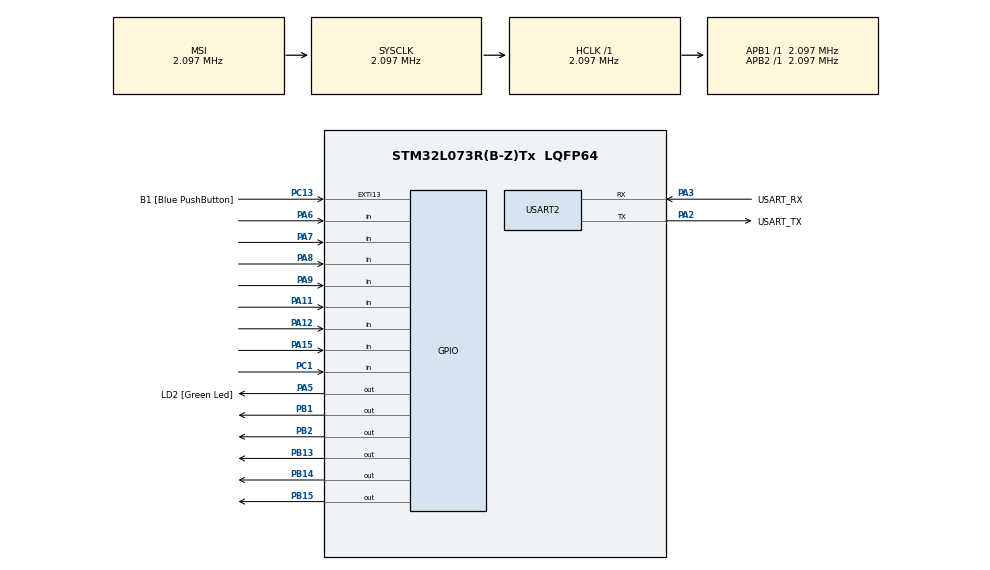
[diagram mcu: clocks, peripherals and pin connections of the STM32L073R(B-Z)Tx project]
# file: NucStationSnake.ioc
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Mcu.Family=STM32L0
Mcu.Name=STM32L073R(B-Z)Tx
Mcu.Package=LQFP64
PA11.Signal=GPIO_Input
PA12.GPIO_PuPd=GPIO_PULLDOWN
PA12.Signal=GPIO_Input
PA13.GPIO_Label=TMS
PA13.Mode=Serial_Wire
PA13.Signal=SYS_SWDIO
PA14.GPIO_Label=TCK
PA14.Mode=Serial_Wire
PA14.Signal=SYS_SWCLK
PA15.Signal=GPIO_Input
PA2.GPIO_Label=USART_TX
PA2.Mode=Asynchronous
PA2.Signal=USART2_TX
PA3.GPIO_Label=USART_RX
PA3.Mode=Asynchronous
PA3.Signal=USART2_RX
PA5.GPIO_Label=LD2 [Green Led]
PA5.Signal=GPIO_Output
PA6.GPIO_PuPd=GPIO_PULLUP
PA6.Signal=GPIO_Input
PA7.GPIO_PuPd=GPIO_PULLUP
PA7.Signal=GPIO_Input
PA8.Signal=GPIO_Input
PA9.Signal=GPIO_Input
PB1.Signal=GPIO_Output
PB13.Signal=GPIO_Output
PB14.Signal=GPIO_Output
PB15.Signal=GPIO_Output
PB2.Signal=GPIO_Output
PC1.GPIO_PuPd=GPIO_PULLUP
PC1.Signal=GPIO_Input
PC13.GPIO_Label=B1 [Blue PushButton]
PC13.GPIO_ModeDefaultEXTI=GPIO_MODE_IT_FALLING
PC13.Signal=GPXTI13
PC14-OSC32_IN.Mode=LSE-External-Oscillator
PC14-OSC32_IN.Signal=RCC_OSC32_IN
PC15-OSC32_OUT.Mode=LSE-External-Oscillator
PC15-OSC32_OUT.Signal=RCC_OSC32_OUT
PH0-OSC_IN.GPIO_Label=MCO
PH0-OSC_IN.Mode=HSE-External-Clock-Source
PH0-OSC_IN.Signal=RCC_OSC_IN
ProjectManager.HeapSize=0x200
ProjectManager.StackSize=0x400
ProjectManager.TargetToolchain=STM32CubeIDE
RCC.AHBFreq_Value=2097000
RCC.APB1Freq_Value=2097000
RCC.APB1TimFreq_Value=2097000
RCC.APB2Freq_Value=2097000
RCC.APB2TimFreq_Value=2097000
RCC.HSE_VALUE=8000000
RCC.HSI16_VALUE=16000000
RCC.HSI48_VALUE=48000000
RCC.HSI_VALUE=16000000
RCC.MSI_VALUE=2097000
RCC.SYSCLKFreq_VALUE=2097000
RCC.VCOOutputFreq_Value=48000000
TIM6.Period=65536 - 1
TIM6.Prescaler=80 - 1
USART2.VirtualMode-Asynchronous=VM_ASYNC
VP_TIM6_VS_ClockSourceINT.Mode=Enable_Timer
board=NUCLEO-L073RZ

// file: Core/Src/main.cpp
/* USER CODE BEGIN Header */
/**
  ******************************************************************************
  * @file           : main.c
  * @brief          : Main program body
  ******************************************************************************
  * @attention
  *
  * Copyright (c) 2022 STMicroelectronics.
  * All rights reserved.
  *
  * This software is licensed under terms that can be found in the LICENSE file
  * in the root directory of this software component.
  * If no LICENSE file comes with this software, it is provided AS-IS.
  *
  ******************************************************************************
  */
/* USER CODE END Header */
#include <main.hpp>
/* USER CODE BEGIN Includes */
#include <stdio.h>
#include <stdlib.h>

/* USER CODE END Includes */

/* USER CODE BEGIN PD */

#define START_LENGTH 10;
#define START_SPEED 2;

static void ResetGame ( void );

/* USER CODE END PD */

 TIM_HandleTypeDef htim6;

 UART_HandleTypeDef huart2;

void SystemClock_Config(void);
static void MX_GPIO_Init(void);
static void MX_USART2_UART_Init(void);
static void MX_TIM6_Init(void);
/* USER CODE BEGIN PFP */
void UPrint(char _out[]);
int length_of_string(char* p);
/* USER CODE END PFP */

/* USER CODE BEGIN 0 */

bool gameOver = false;

char scoreText[8] = {0};

uint8_t currentLength = START_LENGTH;
uint8_t direction = 1; //0 up 1 right 2 down 3 left

uint8_t segmentPosesX[64] = {0};
uint8_t segmentPosesY[64] = {0};

bool segments[64] = {0};
uint8_t tailSegment = START_LENGTH;

uint8_t baitX = 0;
uint8_t baitY = 0;

uint8_t maxX = 0;
uint8_t maxY = 0;
uint8_t minX = 84;
uint8_t minY = 48;

int score = 1;

void SetRandomBait()
{
	LCD_setPixel(baitX, baitY, false);
	baitX = LCD_WIDTH;
	baitX = ( rand() % (baitX - 16) ) + 16;

	baitY = LCD_HEIGHT;
	baitY = ( rand() % (baitY - 16) ) + 16;
	LCD_setPixel(baitX, baitY, true);

	LCD_refreshArea(baitX - 2, baitY - 2, baitX + 2, baitY + 2);
}

void SetGameOver()
{
	gameOver = true;
	LCD_clrBuffer();
	LCD_clrScr();
}

/* USER CODE END 0 */

int main(void)
{
  /* USER CODE BEGIN 1 */
	tailSegment--;
  /* USER CODE END 1 */

  /* MCU Configuration--------------------------------------------------------*/

  /* Reset of all peripherals, Initializes the Flash interface and the Systick. */
  HAL_Init();

  /* Configure the system clock */
  SystemClock_Config();

  /* Initialize all configured peripherals */
  MX_GPIO_Init();
  MX_USART2_UART_Init();
  MX_TIM6_Init();

  /* USER CODE BEGIN 2 */
#ifdef __cplusplus
  UPrint("Setting up game... \r\n");

  HAL_TIM_Base_Start(&htim6);

  LCD_setRST(GPIOB, GPIO_PIN_13);
  LCD_setCE(GPIOB, GPIO_PIN_14);
  LCD_setDC(GPIOB, GPIO_PIN_15);
  LCD_setDIN(GPIOB, GPIO_PIN_1);
  LCD_setCLK(GPIOB, GPIO_PIN_2);
  LCD_init();

  for(int i = 0; i < currentLength; i++)
  {
	  segments[i] = true;

	  segmentPosesY[i] = 20;
	  segmentPosesX[i] = currentLength + 16 - i;

  }

  direction = 1;

  GamepadButton BUTTON_Left(GPIOA, GPIO_PIN_7);
  GamepadButton BUTTON_Right(GPIOA, GPIO_PIN_6);

  GamepadButton BUTTON_Up(GPIOA, GPIO_PIN_12);
  GamepadButton BUTTON_Down(GPIOA, GPIO_PIN_11);

  GamepadButton BUTTON_A(GPIOC, GPIO_PIN_7);
  GamepadButton BUTTON_B(GPIOB, GPIO_PIN_6);

  SetRandomBait();

  LCD_drawRectangle(0, 10, 83, 47);

  LCD_refreshScr();

  /* USER CODE END 2 */

  /* Infinite loop */
  /* USER CODE BEGIN WHILE */
	while (1)
	{
		BUTTON_Left.UpdateButton();
		BUTTON_Right.UpdateButton();
		BUTTON_Up.UpdateButton();
		BUTTON_Down.UpdateButton();
		BUTTON_A.UpdateButton();
		BUTTON_B.UpdateButton();

		if(!gameOver)
		{

			if(BUTTON_Up.IsPressing && direction != 2)
			{
				direction = 0;
			}
			else if(BUTTON_Right.IsPressing && direction != 3)
			{
				direction = 1;
			}
			else if(BUTTON_Down.IsPressing && direction != 0)
			{
				direction = 2;
			}
			else if(BUTTON_Left.IsPressing && direction != 1)
			{
				direction = 3;
			}

			LCD_setPixel(segmentPosesX[tailSegment], segmentPosesY[tailSegment], false);
			for(int i = 63; i > 0; i--)
			{
				if(!segments[i]) continue;

				segmentPosesX[i] = segmentPosesX[i - 1];
				segmentPosesY[i] = segmentPosesY[i - 1];

				if(segmentPosesX[i] > maxX) maxX = segmentPosesX[i];
				if(segmentPosesY[i] > maxY) maxY = segmentPosesY[i];

				if(segmentPosesX[i] < minX) minX = segmentPosesX[i];
				if(segmentPosesY[i] < minY) minY = segmentPosesY[i];

				LCD_setPixel(segmentPosesX[i], segmentPosesY[i], true);
			}

			switch (direction)
			{
				case 0:
					segmentPosesY[0]--;
					break;
				case 1:
					segmentPosesX[0]++;
					break;
				case 2:
					segmentPosesY[0]++;
					break;
				case 3:
					segmentPosesX[0]--;
					break;
			}

			LCD_setPixel(segmentPosesX[0], segmentPosesY[0], true);

			for(int i = 1; i < tailSegment + 1; i++)
			{
				if(segmentPosesX[0] == segmentPosesX[i] && segmentPosesY[0] == segmentPosesY[i])
				{
					SetGameOver();
					break;
				}
			}

			if(segmentPosesX[0] == baitX && segmentPosesY[0] == baitY)
			{
				SetRandomBait();
				currentLength++;
				tailSegment++;

				score++;
				segments[tailSegment] = true;

				if(tailSegment == 63)
				{
					ResetGame();
				}
			}

			if(segmentPosesX[0] == 0 || segmentPosesX[0] == 83 || segmentPosesY[0] == 10 || segmentPosesY[0] == 47) SetGameOver();

			LCD_setPixel(baitX, baitY, true);

			LCD_refreshArea(minX - 2, minY - 2, maxX + 2, maxY + 2);

			itoa((int) score, scoreText, 10);
			LCD_print(scoreText, 0, 0);
		}
		else
		{
			LCD_print("GameOver...", 0, 0);

			if(BUTTON_A.IsPressing)
			{
				ResetGame();
			}
		}
	while(4000 > __HAL_TIM_GET_COUNTER(&htim6)); //wait for 25fps

	__HAL_TIM_SET_COUNTER(&htim6,0);

    /* USER CODE END WHILE */

    /* USER CODE BEGIN 3 */

	}
#endif
  /* USER CODE END 3 */
}

void SystemClock_Config(void)
{
  RCC_OscInitTypeDef RCC_OscInitStruct = {0};
  RCC_ClkInitTypeDef RCC_ClkInitStruct = {0};
  RCC_PeriphCLKInitTypeDef PeriphClkInit = {0};

  /** Configure the main internal regulator output voltage
  */
  __HAL_PWR_VOLTAGESCALING_CONFIG(PWR_REGULATOR_VOLTAGE_SCALE1);

  /** Initializes the RCC Oscillators according to the specified parameters
  * in the RCC_OscInitTypeDef structure.
  */
  RCC_OscInitStruct.OscillatorType = RCC_OSCILLATORTYPE_MSI;
  RCC_OscInitStruct.MSIState = RCC_MSI_ON;
  RCC_OscInitStruct.MSICalibrationValue = 0;
  RCC_OscInitStruct.MSIClockRange = RCC_MSIRANGE_5;
  RCC_OscInitStruct.PLL.PLLState = RCC_PLL_NONE;
  if (HAL_RCC_OscConfig(&RCC_OscInitStruct) != HAL_OK)
  {
    Error_Handler();
  }

  /** Initializes the CPU, AHB and APB buses clocks
  */
  RCC_ClkInitStruct.ClockType = RCC_CLOCKTYPE_HCLK|RCC_CLOCKTYPE_SYSCLK
                              |RCC_CLOCKTYPE_PCLK1|RCC_CLOCKTYPE_PCLK2;
  RCC_ClkInitStruct.SYSCLKSource = RCC_SYSCLKSOURCE_MSI;
  RCC_ClkInitStruct.AHBCLKDivider = RCC_SYSCLK_DIV1;
  RCC_ClkInitStruct.APB1CLKDivider = RCC_HCLK_DIV1;
  RCC_ClkInitStruct.APB2CLKDivider = RCC_HCLK_DIV1;

  if (HAL_RCC_ClockConfig(&RCC_ClkInitStruct, FLASH_LATENCY_0) != HAL_OK)
  {
    Error_Handler();
  }
  PeriphClkInit.PeriphClockSelection = RCC_PERIPHCLK_USART2;
  PeriphClkInit.Usart2ClockSelection = RCC_USART2CLKSOURCE_PCLK1;
  if (HAL_RCCEx_PeriphCLKConfig(&PeriphClkInit) != HAL_OK)
  {
    Error_Handler();
  }
}

static void MX_TIM6_Init(void)
{

  TIM_MasterConfigTypeDef sMasterConfig = {0};

  htim6.Instance = TIM6;
  htim6.Init.Prescaler = 80 - 1;
  htim6.Init.CounterMode = TIM_COUNTERMODE_UP;
  htim6.Init.Period = 65536 - 1;
  htim6.Init.AutoReloadPreload = TIM_AUTORELOAD_PRELOAD_DISABLE;
  if (HAL_TIM_Base_Init(&htim6) != HAL_OK)
  {
    Error_Handler();
  }
  sMasterConfig.MasterOutputTrigger = TIM_TRGO_RESET;
  sMasterConfig.MasterSlaveMode = TIM_MASTERSLAVEMODE_DISABLE;
  if (HAL_TIMEx_MasterConfigSynchronization(&htim6, &sMasterConfig) != HAL_OK)
  {
    Error_Handler();
  }

}

static void MX_USART2_UART_Init(void)
{

  huart2.Instance = USART2;
  huart2.Init.BaudRate = 115200;
  huart2.Init.WordLength = UART_WORDLENGTH_8B;
  huart2.Init.StopBits = UART_STOPBITS_1;
  huart2.Init.Parity = UART_PARITY_NONE;
  huart2.Init.Mode = UART_MODE_TX_RX;
  huart2.Init.HwFlowCtl = UART_HWCONTROL_NONE;
  huart2.Init.OverSampling = UART_OVERSAMPLING_16;
  huart2.Init.OneBitSampling = UART_ONE_BIT_SAMPLE_DISABLE;
  huart2.AdvancedInit.AdvFeatureInit = UART_ADVFEATURE_NO_INIT;
  if (HAL_UART_Init(&huart2) != HAL_OK)
  {
    Error_Handler();
  }

}

static void MX_GPIO_Init(void)
{
	  GPIO_InitTypeDef GPIO_InitStruct = {0};

	  /* GPIO Ports Clock Enable */
	  __HAL_RCC_GPIOC_CLK_ENABLE();
	  __HAL_RCC_GPIOH_CLK_ENABLE();
	  __HAL_RCC_GPIOA_CLK_ENABLE();
	  __HAL_RCC_GPIOB_CLK_ENABLE();

	  /*Configure GPIO pin Output Level */
	  HAL_GPIO_WritePin(LD2_GPIO_Port, LD2_Pin, GPIO_PIN_RESET);

	  /*Configure GPIO pin Output Level */
	  HAL_GPIO_WritePin(GPIOB, GPIO_PIN_1|GPIO_PIN_2|GPIO_PIN_13|GPIO_PIN_14
	                          |GPIO_PIN_15, GPIO_PIN_RESET);

	  /*Configure GPIO pin : B1_Pin */
	  GPIO_InitStruct.Pin = B1_Pin;
	  GPIO_InitStruct.Mode = GPIO_MODE_IT_FALLING;
	  GPIO_InitStruct.Pull = GPIO_NOPULL;
	  HAL_GPIO_Init(B1_GPIO_Port, &GPIO_InitStruct);

	  /*Configure GPIO pin : PC1 */
	  GPIO_InitStruct.Pin = GPIO_PIN_1;
	  GPIO_InitStruct.Mode = GPIO_MODE_INPUT;
	  GPIO_InitStruct.Pull = GPIO_PULLUP;
	  HAL_GPIO_Init(GPIOC, &GPIO_InitStruct);

	  /*Configure GPIO pin : LD2_Pin */
	  GPIO_InitStruct.Pin = LD2_Pin;
	  GPIO_InitStruct.Mode = GPIO_MODE_OUTPUT_PP;
	  GPIO_InitStruct.Pull = GPIO_NOPULL;
	  GPIO_InitStruct.Speed = GPIO_SPEED_FREQ_LOW;
	  HAL_GPIO_Init(LD2_GPIO_Port, &GPIO_InitStruct);

	  /*Configure GPIO pins : PB1 PB2 PB13 PB14
	                           PB15 */
	  GPIO_InitStruct.Pin = GPIO_PIN_1|GPIO_PIN_2|GPIO_PIN_13|GPIO_PIN_14
	                          |GPIO_PIN_15;
	  GPIO_InitStruct.Mode = GPIO_MODE_OUTPUT_PP;
	  GPIO_InitStruct.Pull = GPIO_NOPULL;
	  GPIO_InitStruct.Speed = GPIO_SPEED_FREQ_VERY_HIGH;
	  HAL_GPIO_Init(GPIOB, &GPIO_InitStruct);

	  /*Configure GPIO pins : PA8 PA9 PA15 */
	  GPIO_InitStruct.Pin = GPIO_PIN_8|GPIO_PIN_9|GPIO_PIN_15;
	  GPIO_InitStruct.Mode = GPIO_MODE_INPUT;
	  GPIO_InitStruct.Pull = GPIO_NOPULL;
	  HAL_GPIO_Init(GPIOA, &GPIO_InitStruct);

}

/* USER CODE BEGIN 4 */
void UPrint(char _out[])
{
	HAL_UART_Transmit(&huart2, (uint8_t *) _out, length_of_string(_out),10);
}

int length_of_string(char* p) {
    int count = 0;

    while (*p != '\0') {
        count++;
        p++;
    }

    return count;
}

static void ResetGame ( void )
{

    uint32_t reset_handler_add = *((volatile uint32_t *)(0x08008000 + 4));
    void (*app_reset_handler)(void) = (void (*)(void))reset_handler_add;
    app_reset_handler();
}

/* USER CODE END 4 */

void Error_Handler(void)
{
  __disable_irq();
  while (1)
  {
  }
}
